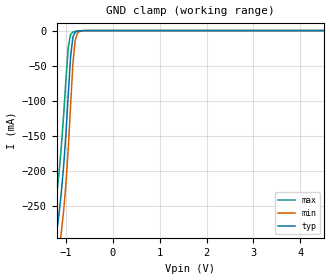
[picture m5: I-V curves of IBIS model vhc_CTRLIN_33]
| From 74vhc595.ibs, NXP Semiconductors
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|   Model vhc_CTRLIN_33
[Model]   vhc_CTRLIN_33
Model_type   Input
Vinl =   0.9000V
Vinh =   2.1000V
C_comp   0.45pF   0.34pF   0.61pF
[Model Spec]
| Note: The input and output voltage ratings may be exceeded if the input and
|   output current ratings are observed (please refer to the data sheet)
|   Subparameter   typ   min   max
| Thresholds
Vinh   2.1   NA   NA
Vinl   0.9   NA   NA
| Overshoot
S_overshoot_high   7.0   7.0   7.0   | Static overshoot
S_overshoot_low   -0.5   -0.5   -0.5
D_overshoot_high   7.2   7.2   7.2   | Dynamic overshoot
D_overshoot_low   -0.95   -0.9   -1.0
D_overshoot_time   3n   3n   3n
|Ambient temperature:   25.0000   85.0000   -40.0000
[Temperature Range]   40.0000   100.0000   -25.0000
[Voltage Range]   3.3000V   3.0000V   3.6000V
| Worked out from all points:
|   GND clamp passes 1 mA (typ) near -0.76 V on its own axis
|Process Range   nominal   slow   fast
[GND_clamp]
| voltage   I(typ)   I(min)   I(max)
-5.5V     -4.505A    -4.534A    -4.47A
-1.3V     -357.6mA   -398.8mA   -309.8mA
-1.25V    -319.1mA   -361.6mA   -269.6mA
-1.2V     -290.6mA   -336.3mA   -237.4mA
-1.1V     -233mA     -289.4mA   -167.7mA
-1.05V    -195.1mA   -258.8mA   -122.5mA
-950mV    -91.55mA   -169.3mA   -24.13mA
-900mV    -37.35mA   -107.1mA   -5.328mA
-850mV    -9.094mA   -46.41mA   -2.025mA
-800mV    -2.031mA   -13.14mA   -1.247mA
-650mV    -123.6uA   -231.6uA   -239.9uA
5.5V      5.78pA     672.5pA    15fA
